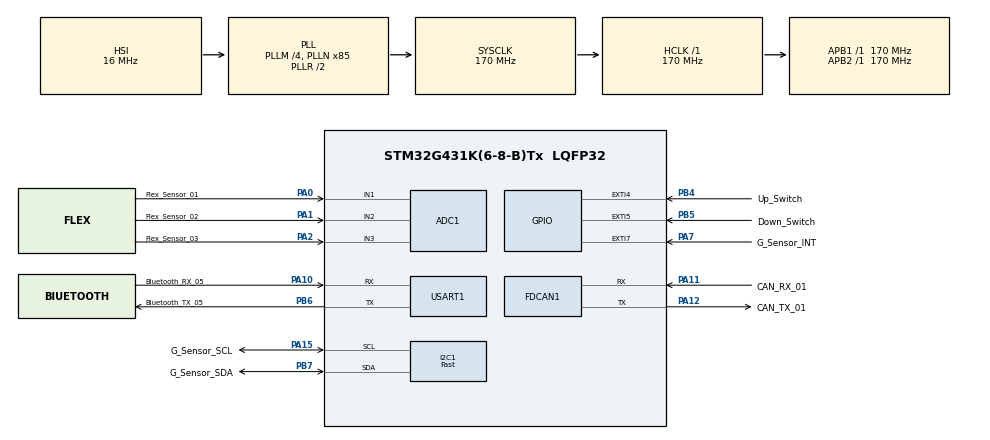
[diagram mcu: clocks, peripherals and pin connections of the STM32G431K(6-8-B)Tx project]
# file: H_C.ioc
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ADC1.Channel-1\#ChannelRegularConversion=ADC_CHANNEL_1
ADC1.Channel-2\#ChannelRegularConversion=ADC_CHANNEL_2
ADC1.Channel-3\#ChannelRegularConversion=ADC_CHANNEL_3
ADC1.ContinuousConvMode=ENABLE
ADC1.DMAContinuousRequests=ENABLE
ADC1.NbrOfConversion=3
ADC1.NbrOfConversionFlag=1
ADC1.OffsetNumber-1\#ChannelRegularConversion=ADC_OFFSET_NONE
ADC1.OffsetNumber-2\#ChannelRegularConversion=ADC_OFFSET_NONE
ADC1.OffsetNumber-3\#ChannelRegularConversion=ADC_OFFSET_NONE
ADC1.Rank-1\#ChannelRegularConversion=1
ADC1.Rank-2\#ChannelRegularConversion=2
ADC1.Rank-3\#ChannelRegularConversion=3
ADC1.SamplingTime-1\#ChannelRegularConversion=ADC_SAMPLETIME_47CYCLES_5
ADC1.SamplingTime-2\#ChannelRegularConversion=ADC_SAMPLETIME_47CYCLES_5
ADC1.SamplingTime-3\#ChannelRegularConversion=ADC_SAMPLETIME_47CYCLES_5
ADC1.master=1
Dma.ADC1.0.Direction=DMA_PERIPH_TO_MEMORY
Dma.ADC1.0.EventEnable=DISABLE
Dma.ADC1.0.Instance=DMA1_Channel1
Dma.ADC1.0.MemDataAlignment=DMA_MDATAALIGN_HALFWORD
Dma.ADC1.0.MemInc=DMA_MINC_ENABLE
Dma.ADC1.0.Mode=DMA_CIRCULAR
Dma.ADC1.0.PeriphDataAlignment=DMA_PDATAALIGN_HALFWORD
Dma.ADC1.0.PeriphInc=DMA_PINC_DISABLE
Dma.ADC1.0.Polarity=HAL_DMAMUX_REQ_GEN_RISING
Dma.ADC1.0.Priority=DMA_PRIORITY_LOW
Dma.ADC1.0.RequestNumber=1
Dma.ADC1.0.SignalID=NONE
Dma.ADC1.0.SyncEnable=DISABLE
Dma.ADC1.0.SyncPolarity=HAL_DMAMUX_SYNC_NO_EVENT
Dma.ADC1.0.SyncRequestNumber=1
Dma.ADC1.0.SyncSignalID=NONE
Dma.Request0=ADC1
FDCAN1.CalculateBaudRateNominal=499999
FDCAN1.CalculateTimeBitNominal=2000
FDCAN1.CalculateTimeQuantumNominal=117.64705882352942
FDCAN1.ClockDivider=FDCAN_CLOCK_DIV1
FDCAN1.DataSyncJumpWidth=1
FDCAN1.NominalPrescaler=20
FDCAN1.NominalSyncJumpWidth=3
FDCAN1.NominalTimeSeg1=12
FDCAN1.NominalTimeSeg2=4
FREERTOS.Queues01=packetQueue,8,8,1,Dynamic,NULL,NULL
FREERTOS.Tasks01=CommTask,32,256,StartCommTask,Default,NULL,Dynamic,NULL,NULL;SensorTask,16,256,StartSensorTask,Default,NULL,Dynamic,NULL,NULL;SwitchTask,24,256,StartSwitchTask,Default,NULL,Dynamic,NULL,NULL
FREERTOS.Timers01=TimerOnce,Callback_Once,osTimerOnce,Default,NULL,Dynamic,NULL;Timer10ms,Callback_10ms,osTimerPeriodic,Default,NULL,Dynamic,NULL;Timer100ms,Callback_100ms,osTimerPeriodic,Default,NULL,Dynamic,NULL
FREERTOS.configTOTAL_HEAP_SIZE=6144
I2C1.I2C_Fall_Time=10
I2C1.I2C_Speed_Mode=I2C_Fast
I2C1.Timing=0x60400D28
Mcu.Family=STM32G4
Mcu.Name=STM32G431K(6-8-B)Tx
Mcu.Package=LQFP32
NVIC.DMA1_Channel1_IRQn=true\:5\:0\:false\:false\:true\:true\:false\:true\:true
NVIC.EXTI4_IRQn=true\:5\:0\:false\:false\:true\:true\:true\:true\:true
NVIC.EXTI9_5_IRQn=true\:5\:0\:false\:false\:true\:true\:true\:true\:true
NVIC.FDCAN1_IT0_IRQn=true\:5\:0\:false\:false\:true\:true\:true\:true\:true
NVIC.PriorityGroup=NVIC_PRIORITYGROUP_4
NVIC.TIM6_DAC_IRQn=true\:15\:0\:false\:false\:true\:false\:false\:true\:true
NVIC.TimeBase=TIM6_DAC_IRQn
NVIC.TimeBaseIP=TIM6
NVIC.USART1_IRQn=true\:5\:0\:false\:false\:true\:true\:true\:true\:true
PA0.GPIO_Label=Flex_Sensor_01
PA0.Mode=IN1-Single-Ended
PA0.Signal=ADC1_IN1
PA1.GPIO_Label=Flex_Sensor_02
PA1.Mode=IN2-Single-Ended
PA1.Signal=ADC1_IN2
PA10.GPIO_Label=BIuetooth_RX_05
PA10.Mode=Asynchronous
PA10.Signal=USART1_RX
PA11.GPIO_Label=CAN_RX_01
PA11.Mode=FDCAN_Activate
PA11.Signal=FDCAN1_RX
PA12.GPIO_Label=CAN_TX_01
PA12.Mode=FDCAN_Activate
PA12.Signal=FDCAN1_TX
PA15.GPIO_Label=G_Sensor_SCL
PA15.Mode=I2C
PA15.Signal=I2C1_SCL
PA2.GPIO_Label=Flex_Sensor_03
PA2.Mode=IN3-Single-Ended
PA2.Signal=ADC1_IN3
PA7.GPIO_Label=G_Sensor_INT
PA7.Signal=GPXTI7
PB4.GPIO_Label=Up_Switch
PB4.GPIO_ModeDefaultEXTI=GPIO_MODE_IT_RISING_FALLING
PB4.GPIO_PuPd=GPIO_PULLUP
PB4.Signal=GPXTI4
PB5.GPIO_Label=Down_Switch
PB5.GPIO_ModeDefaultEXTI=GPIO_MODE_IT_RISING_FALLING
PB5.GPIO_PuPd=GPIO_PULLUP
PB5.Signal=GPXTI5
PB6.GPIO_Label=BIuetooth_TX_05
PB6.Mode=Asynchronous
PB6.Signal=USART1_TX
PB7.GPIO_Label=G_Sensor_SDA
PB7.Mode=I2C
PB7.Signal=I2C1_SDA
ProjectManager.HeapSize=0x200
ProjectManager.StackSize=0x400
ProjectManager.TargetToolchain=STM32CubeIDE
RCC.ADC12Freq_Value=170000000
RCC.AHBFreq_Value=170000000
RCC.APB1Freq_Value=170000000
RCC.APB1TimFreq_Value=170000000
RCC.APB2Freq_Value=170000000
RCC.APB2TimFreq_Value=170000000
RCC.CortexFreq_Value=170000000
RCC.EXTERNAL_CLOCK_VALUE=12288000
RCC.HCLKFreq_Value=170000000
RCC.HSE_VALUE=8000000
RCC.HSI48_VALUE=48000000
RCC.HSI_VALUE=16000000
RCC.LSE_VALUE=32768
RCC.PLLM=RCC_PLLM_DIV4
RCC.PLLN=85
RCC.SYSCLKFreq_VALUE=170000000
RCC.SYSCLKSource=RCC_SYSCLKSOURCE_PLLCLK
RCC.USBFreq_Value=170000000
RCC.VCOOutputFreq_Value=340000000
USART1.VirtualMode-Asynchronous=VM_ASYNC
VP_FREERTOS_VS_CMSIS_V2.Mode=CMSIS_V2
VP_SYS_VS_DBSignals.Mode=DisableDeadBatterySignals
VP_SYS_VS_tim6.Mode=TIM6
board=custom

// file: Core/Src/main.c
/* USER CODE BEGIN Header */
/**
  ******************************************************************************
  * @file           : main.c
  * @brief          : Main program body
  ******************************************************************************
  * @attention
  *
  * Copyright (c) 2026 STMicroelectronics.
  * All rights reserved.
  *
  * This software is licensed under terms that can be found in the LICENSE file
  * in the root directory of this software component.
  * If no LICENSE file comes with this software, it is provided AS-IS.
  *
  ******************************************************************************
  */
/* USER CODE END Header */
#include "main.h"
#include "cmsis_os.h"

/* USER CODE BEGIN Includes */
#include "Packet.h"
#include "sensor.h"
#include "bluetooth.h"
#include "can_comm.h"
#include <string.h>
/* USER CODE END Includes */

ADC_HandleTypeDef hadc1;
DMA_HandleTypeDef hdma_adc1;

FDCAN_HandleTypeDef hfdcan1;

I2C_HandleTypeDef hi2c1;

UART_HandleTypeDef huart1;

/* Definitions for CommTask */
osThreadId_t CommTaskHandle;
const osThreadAttr_t CommTask_attributes = {
  .name = "CommTask",
  .priority = (osPriority_t) osPriorityAboveNormal,
  .stack_size = 256 * 4
};
/* Definitions for SensorTask */
osThreadId_t SensorTaskHandle;
const osThreadAttr_t SensorTask_attributes = {
  .name = "SensorTask",
  .priority = (osPriority_t) osPriorityBelowNormal,
  .stack_size = 256 * 4
};
/* Definitions for SwitchTask */
osThreadId_t SwitchTaskHandle;
const osThreadAttr_t SwitchTask_attributes = {
  .name = "SwitchTask",
  .priority = (osPriority_t) osPriorityNormal,
  .stack_size = 256 * 4
};
/* Definitions for packetQueue */
osMessageQueueId_t packetQueueHandle;
const osMessageQueueAttr_t packetQueue_attributes = {
  .name = "packetQueue"
};
/* Definitions for TimerOnce */
osTimerId_t TimerOnceHandle;
const osTimerAttr_t TimerOnce_attributes = {
  .name = "TimerOnce"
};
/* Definitions for Timer10ms */
osTimerId_t Timer10msHandle;
const osTimerAttr_t Timer10ms_attributes = {
  .name = "Timer10ms"
};
/* Definitions for Timer100ms */
osTimerId_t Timer100msHandle;
const osTimerAttr_t Timer100ms_attributes = {
  .name = "Timer100ms"
};
/* USER CODE BEGIN PV */
static SensorData_t g_sensorData; /* Callback_10ms가 갱신, BT(CommTask)/CAN 양쪽에서 공유 */

static GSensorPacket_t g_gsensorPkt;       /* canonical: 최신 패킹된 G센서 패킷 (Live Expression 확인용) */
static FlexPacket_t    g_flexPkt;          /* canonical: 최신 패킹된 Flex 패킷 */

static GSensorPacket_t g_canTxGSensorPkt;  /* CAN 송신 직전 복사본 */
static FlexPacket_t    g_canTxFlexPkt;

static GSensorPacket_t g_btTxGSensorPkt;   /* BT 송신 직전 복사본 */
static FlexPacket_t    g_btTxFlexPkt;
/* USER CODE END PV */

void SystemClock_Config(void);
static void MX_GPIO_Init(void);
static void MX_DMA_Init(void);
static void MX_ADC1_Init(void);
static void MX_FDCAN1_Init(void);
static void MX_I2C1_Init(void);
static void MX_USART1_UART_Init(void);
void StartCommTask(void *argument);
void StartSensorTask(void *argument);
void StartSwitchTask(void *argument);
void Callback_Once(void *argument);
void Callback_10ms(void *argument);
void Callback_100ms(void *argument);

/* USER CODE BEGIN PFP */
/* [TEST MODE] 센서 없이 CAN/BT 통신 확인용 더미 패킷 생성 */
static void BuildTestPackets(GSensorPacket_t *gPkt, FlexPacket_t *fPkt);
/* USER CODE END PFP */

int main(void)
{

  /* MCU Configuration--------------------------------------------------------*/

  /* Reset of all peripherals, Initializes the Flash interface and the Systick. */
  HAL_Init();

  /* Configure the system clock */
  SystemClock_Config();

  /* Initialize all configured peripherals */
  MX_GPIO_Init();
  MX_DMA_Init();
  MX_ADC1_Init();
  MX_FDCAN1_Init();
  MX_I2C1_Init();
  MX_USART1_UART_Init();

  /* Init scheduler */
  osKernelInitialize();

  /* Create the timer(s) */
  /* creation of TimerOnce */
  TimerOnceHandle = osTimerNew(Callback_Once, osTimerOnce, NULL, &TimerOnce_attributes);

  /* creation of Timer10ms */
  Timer10msHandle = osTimerNew(Callback_10ms, osTimerPeriodic, NULL, &Timer10ms_attributes);

  /* creation of Timer100ms */
  Timer100msHandle = osTimerNew(Callback_100ms, osTimerPeriodic, NULL, &Timer100ms_attributes);

  /* USER CODE BEGIN RTOS_TIMERS */
  osTimerStart(Timer10msHandle, 10); /* CAN 주기 송신 시작 */
  osTimerStart(Timer100msHandle, 1000); /* Hand 상태(0x102) 주기 송신 — 이름은 Timer100ms지만 1000ms로 재활용 */
  /* USER CODE END RTOS_TIMERS */

  /* Create the queue(s) */
  /* creation of packetQueue */
  packetQueueHandle = osMessageQueueNew (8, 8, &packetQueue_attributes);

  /* Create the thread(s) */
  /* creation of CommTask */
  CommTaskHandle = osThreadNew(StartCommTask, NULL, &CommTask_attributes);

  /* [TEST MODE] Flex 센서 1개(PA0)만 확인하려고 SensorTask는 다시 켬 (G센서는 아직 미연결, I2C 타임아웃만 나고 안전하게 무시됨) */
  /* creation of SensorTask */
  SensorTaskHandle = osThreadNew(StartSensorTask, NULL, &SensorTask_attributes);

  /* creation of SwitchTask */
  // SwitchTaskHandle = osThreadNew(StartSwitchTask, NULL, &SwitchTask_attributes);

  /* Start scheduler */
  osKernelStart();

  /* We should never get here as control is now taken by the scheduler */

  /* Infinite loop */
  while (1)
  {

  }
}

void SystemClock_Config(void)
{
  RCC_OscInitTypeDef RCC_OscInitStruct = {0};
  RCC_ClkInitTypeDef RCC_ClkInitStruct = {0};

  /** Configure the main internal regulator output voltage
  */
  HAL_PWREx_ControlVoltageScaling(PWR_REGULATOR_VOLTAGE_SCALE1_BOOST);

  /** Initializes the RCC Oscillators according to the specified parameters
  * in the RCC_OscInitTypeDef structure.
  */
  RCC_OscInitStruct.OscillatorType = RCC_OSCILLATORTYPE_HSI;
  RCC_OscInitStruct.HSIState = RCC_HSI_ON;
  RCC_OscInitStruct.HSICalibrationValue = RCC_HSICALIBRATION_DEFAULT;
  RCC_OscInitStruct.PLL.PLLState = RCC_PLL_ON;
  RCC_OscInitStruct.PLL.PLLSource = RCC_PLLSOURCE_HSI;
  RCC_OscInitStruct.PLL.PLLM = RCC_PLLM_DIV4;
  RCC_OscInitStruct.PLL.PLLN = 85;
  RCC_OscInitStruct.PLL.PLLP = RCC_PLLP_DIV2;
  RCC_OscInitStruct.PLL.PLLQ = RCC_PLLQ_DIV2;
  RCC_OscInitStruct.PLL.PLLR = RCC_PLLR_DIV2;
  if (HAL_RCC_OscConfig(&RCC_OscInitStruct) != HAL_OK)
  {
    Error_Handler();
  }

  /** Initializes the CPU, AHB and APB buses clocks
  */
  RCC_ClkInitStruct.ClockType = RCC_CLOCKTYPE_HCLK|RCC_CLOCKTYPE_SYSCLK
                              |RCC_CLOCKTYPE_PCLK1|RCC_CLOCKTYPE_PCLK2;
  RCC_ClkInitStruct.SYSCLKSource = RCC_SYSCLKSOURCE_PLLCLK;
  RCC_ClkInitStruct.AHBCLKDivider = RCC_SYSCLK_DIV1;
  RCC_ClkInitStruct.APB1CLKDivider = RCC_HCLK_DIV1;
  RCC_ClkInitStruct.APB2CLKDivider = RCC_HCLK_DIV1;

  if (HAL_RCC_ClockConfig(&RCC_ClkInitStruct, FLASH_LATENCY_4) != HAL_OK)
  {
    Error_Handler();
  }
}

static void MX_ADC1_Init(void)
{

  ADC_MultiModeTypeDef multimode = {0};
  ADC_ChannelConfTypeDef sConfig = {0};

  /** Common config
  */
  hadc1.Instance = ADC1;
  hadc1.Init.ClockPrescaler = ADC_CLOCK_SYNC_PCLK_DIV4;
  hadc1.Init.Resolution = ADC_RESOLUTION_12B;
  hadc1.Init.DataAlign = ADC_DATAALIGN_RIGHT;
  hadc1.Init.GainCompensation = 0;
  hadc1.Init.ScanConvMode = ADC_SCAN_ENABLE;
  hadc1.Init.EOCSelection = ADC_EOC_SINGLE_CONV;
  hadc1.Init.LowPowerAutoWait = DISABLE;
  hadc1.Init.ContinuousConvMode = ENABLE;
  hadc1.Init.NbrOfConversion = 3;
  hadc1.Init.DiscontinuousConvMode = DISABLE;
  hadc1.Init.ExternalTrigConv = ADC_SOFTWARE_START;
  hadc1.Init.ExternalTrigConvEdge = ADC_EXTERNALTRIGCONVEDGE_NONE;
  hadc1.Init.DMAContinuousRequests = ENABLE;
  hadc1.Init.Overrun = ADC_OVR_DATA_PRESERVED;
  hadc1.Init.OversamplingMode = DISABLE;
  if (HAL_ADC_Init(&hadc1) != HAL_OK)
  {
    Error_Handler();
  }

  /** Configure the ADC multi-mode
  */
  multimode.Mode = ADC_MODE_INDEPENDENT;
  if (HAL_ADCEx_MultiModeConfigChannel(&hadc1, &multimode) != HAL_OK)
  {
    Error_Handler();
  }

  /** Configure Regular Channel
  */
  sConfig.Channel = ADC_CHANNEL_1;
  sConfig.Rank = ADC_REGULAR_RANK_1;
  sConfig.SamplingTime = ADC_SAMPLETIME_47CYCLES_5;
  sConfig.SingleDiff = ADC_SINGLE_ENDED;
  sConfig.OffsetNumber = ADC_OFFSET_NONE;
  sConfig.Offset = 0;
  if (HAL_ADC_ConfigChannel(&hadc1, &sConfig) != HAL_OK)
  {
    Error_Handler();
  }

  /** Configure Regular Channel
  */
  sConfig.Channel = ADC_CHANNEL_2;
  sConfig.Rank = ADC_REGULAR_RANK_2;
  if (HAL_ADC_ConfigChannel(&hadc1, &sConfig) != HAL_OK)
  {
    Error_Handler();
  }

  /** Configure Regular Channel
  */
  sConfig.Channel = ADC_CHANNEL_3;
  sConfig.Rank = ADC_REGULAR_RANK_3;
  if (HAL_ADC_ConfigChannel(&hadc1, &sConfig) != HAL_OK)
  {
    Error_Handler();
  }

}

static void MX_FDCAN1_Init(void)
{

  hfdcan1.Instance = FDCAN1;
  hfdcan1.Init.ClockDivider = FDCAN_CLOCK_DIV1;
  hfdcan1.Init.FrameFormat = FDCAN_FRAME_CLASSIC;
  hfdcan1.Init.Mode = FDCAN_MODE_NORMAL;
  hfdcan1.Init.AutoRetransmission = DISABLE;
  hfdcan1.Init.TransmitPause = DISABLE;
  hfdcan1.Init.ProtocolException = DISABLE;
  hfdcan1.Init.NominalPrescaler = 20;
  hfdcan1.Init.NominalSyncJumpWidth = 3;
  hfdcan1.Init.NominalTimeSeg1 = 12;
  hfdcan1.Init.NominalTimeSeg2 = 4;
  hfdcan1.Init.DataPrescaler = 1;
  hfdcan1.Init.DataSyncJumpWidth = 1;
  hfdcan1.Init.DataTimeSeg1 = 1;
  hfdcan1.Init.DataTimeSeg2 = 1;
  hfdcan1.Init.StdFiltersNbr = 0;
  hfdcan1.Init.ExtFiltersNbr = 0;
  hfdcan1.Init.TxFifoQueueMode = FDCAN_TX_FIFO_OPERATION;
  if (HAL_FDCAN_Init(&hfdcan1) != HAL_OK)
  {
    Error_Handler();
  }

}

static void MX_I2C1_Init(void)
{

  hi2c1.Instance = I2C1;
  hi2c1.Init.Timing = 0x60400D28;
  hi2c1.Init.OwnAddress1 = 0;
  hi2c1.Init.AddressingMode = I2C_ADDRESSINGMODE_7BIT;
  hi2c1.Init.DualAddressMode = I2C_DUALADDRESS_DISABLE;
  hi2c1.Init.OwnAddress2 = 0;
  hi2c1.Init.OwnAddress2Masks = I2C_OA2_NOMASK;
  hi2c1.Init.GeneralCallMode = I2C_GENERALCALL_DISABLE;
  hi2c1.Init.NoStretchMode = I2C_NOSTRETCH_DISABLE;
  if (HAL_I2C_Init(&hi2c1) != HAL_OK)
  {
    Error_Handler();
  }

  /** Configure Analogue filter
  */
  if (HAL_I2CEx_ConfigAnalogFilter(&hi2c1, I2C_ANALOGFILTER_ENABLE) != HAL_OK)
  {
    Error_Handler();
  }

  /** Configure Digital filter
  */
  if (HAL_I2CEx_ConfigDigitalFilter(&hi2c1, 0) != HAL_OK)
  {
    Error_Handler();
  }

}

static void MX_USART1_UART_Init(void)
{

  huart1.Instance = USART1;
  huart1.Init.BaudRate = 115200;
  huart1.Init.WordLength = UART_WORDLENGTH_8B;
  huart1.Init.StopBits = UART_STOPBITS_1;
  huart1.Init.Parity = UART_PARITY_NONE;
  huart1.Init.Mode = UART_MODE_TX_RX;
  huart1.Init.HwFlowCtl = UART_HWCONTROL_NONE;
  huart1.Init.OverSampling = UART_OVERSAMPLING_16;
  huart1.Init.OneBitSampling = UART_ONE_BIT_SAMPLE_DISABLE;
  huart1.Init.ClockPrescaler = UART_PRESCALER_DIV1;
  huart1.AdvancedInit.AdvFeatureInit = UART_ADVFEATURE_NO_INIT;
  if (HAL_UART_Init(&huart1) != HAL_OK)
  {
    Error_Handler();
  }
  if (HAL_UARTEx_SetTxFifoThreshold(&huart1, UART_TXFIFO_THRESHOLD_1_8) != HAL_OK)
  {
    Error_Handler();
  }
  if (HAL_UARTEx_SetRxFifoThreshold(&huart1, UART_RXFIFO_THRESHOLD_1_8) != HAL_OK)
  {
    Error_Handler();
  }
  if (HAL_UARTEx_DisableFifoMode(&huart1) != HAL_OK)
  {
    Error_Handler();
  }

}

static void MX_DMA_Init(void)
{

  /* DMA controller clock enable */
  __HAL_RCC_DMAMUX1_CLK_ENABLE();
  __HAL_RCC_DMA1_CLK_ENABLE();

  /* DMA interrupt init */
  /* DMA1_Channel1_IRQn interrupt configuration */
  HAL_NVIC_SetPriority(DMA1_Channel1_IRQn, 5, 0);
  HAL_NVIC_EnableIRQ(DMA1_Channel1_IRQn);

}

static void MX_GPIO_Init(void)
{
  GPIO_InitTypeDef GPIO_InitStruct = {0};

  /* GPIO Ports Clock Enable */
  __HAL_RCC_GPIOA_CLK_ENABLE();
  __HAL_RCC_GPIOB_CLK_ENABLE();

  /* [TEST MODE] 센서 제거 테스트 중이라 G센서/높낮이스위치 EXTI 비활성화 (PA7 플로팅으로 인한 인터럽트 폭주 방지) */
  /*Configure GPIO pin : G_Sensor_INT_Pin */
  // GPIO_InitStruct.Pin = G_Sensor_INT_Pin;
  // GPIO_InitStruct.Mode = GPIO_MODE_IT_RISING;
  // GPIO_InitStruct.Pull = GPIO_NOPULL;
  // HAL_GPIO_Init(G_Sensor_INT_GPIO_Port, &GPIO_InitStruct);

  /*Configure GPIO pins : Up_Switch_Pin Down_Switch_Pin */
  // GPIO_InitStruct.Pin = Up_Switch_Pin|Down_Switch_Pin;
  // GPIO_InitStruct.Mode = GPIO_MODE_IT_RISING_FALLING;
  // GPIO_InitStruct.Pull = GPIO_PULLUP;
  // HAL_GPIO_Init(GPIOB, &GPIO_InitStruct);

  /* EXTI interrupt init*/
  // HAL_NVIC_SetPriority(EXTI4_IRQn, 5, 0);
  // HAL_NVIC_EnableIRQ(EXTI4_IRQn);

  // HAL_NVIC_SetPriority(EXTI9_5_IRQn, 5, 0);
  // HAL_NVIC_EnableIRQ(EXTI9_5_IRQn);

}

void StartCommTask(void *argument)
{
  /* USER CODE BEGIN 5 */
  CAN_Comm_Init(); /* CAN 버스 활성화 (Bus-Off 알림 등록 + 송신 시작) */

<<<<<<< HEAD
  /* [TEST MODE] Flex1(PA0)만 실측, 나머지는 미연결 상태 그대로. 500ms마다 실제 센서값을 BT로 송신 (CAN은 Callback_10ms가 전담) */
  GSensorPacket_t gPkt;
  FlexPacket_t    fPkt;

  for(;;)
  {
    Sensor_PackGSensor(&g_sensorData, &gPkt); /* Callback_10ms가 갱신해둔 최신값 재사용 */
    Sensor_PackFlex(&g_sensorData, &fPkt);
    BT_Send(&gPkt, &fPkt);
=======
  uint8_t sig[8] = {0};

  for(;;)
  {
    /* SensorTask 또는 SwitchTask가 큐에 신호를 넣으면 여기서 깨어남 */
    /* 100ms 동안 신호 없으면 타임아웃 후 CAN_Recovery()만 실행 */
    if (osMessageQueueGet(packetQueueHandle, sig, NULL, 100) == osOK)
    {
      /* Callback_10ms가 갱신해둔 canonical 패킷을 BT 전용 변수로 복사해서 송신 (CAN은 Callback_10ms가 전담) */
      memcpy(&g_btTxGSensorPkt, &g_gsensorPkt, sizeof(g_gsensorPkt));
      memcpy(&g_btTxFlexPkt,    &g_flexPkt,    sizeof(g_flexPkt));
      BT_Send(&g_btTxGSensorPkt, &g_btTxFlexPkt);
>>>>>>> f898ed6684598243425a488b2c8abcd53dad3f7c

    osDelay(500);
    CAN_Recovery(); /* CAN 끊김 상태면 2초마다 재연결 시도 */
  }
  /* USER CODE END 5 */
}

void StartSensorTask(void *argument)
{
  /* USER CODE BEGIN StartSensorTask */
  /* G센서 설정 + Flex DMA 시작 + 0.5초 안정화 + 착용 자세 오프셋 캘리브레이션 */
  Sensor_Init();

  uint8_t sig[8] = {0};

  for(;;)
  {
    /* G센서 인터럽트 또는 Flex DMA 콜백에서 플래그가 세팅되면 감지 */
    if (gsensor_changed || flex_changed)
    {
      /* CommTask에 "센서값 변경됨, 읽어서 보내줘" 신호 전달 */
      osMessageQueuePut(packetQueueHandle, sig, 0, 0);
    }
    osDelay(10); /* 10ms 주기로 플래그 확인 */
  }
  /* USER CODE END StartSensorTask */
}

void StartSwitchTask(void *argument)
{
  /* USER CODE BEGIN StartSwitchTask */
  uint8_t sig[8] = {0};

  for(;;)
  {
    /* 높낮이 스위치 EXTI 콜백에서 플래그가 세팅되면 감지 */
    if (switch_changed)
    {
      /* CommTask에 "스위치 변경됨, 읽어서 보내줘" 신호 전달 */
      osMessageQueuePut(packetQueueHandle, sig, 0, 0);
    }
    osDelay(10); /* 10ms 주기로 플래그 확인 */
  }
  /* USER CODE END StartSwitchTask */
}

/* Callback_Once function */
void Callback_Once(void *argument)
{
}

/* Callback_10ms function */
void Callback_10ms(void *argument)
{
  /* USER CODE BEGIN Callback_10ms */
<<<<<<< HEAD
  /* [TEST MODE] Flex1(PA0)만 실측, G센서/높낮이스위치/Flex2·3은 미연결 상태 (I2C는 타임아웃 후 0 처리, ADC는 노이즈값) */
  GSensorPacket_t gPkt;
  FlexPacket_t    fPkt;

  Sensor_ReadAll(&g_sensorData); /* I2C(G센서, 미연결) 블로킹 읽기 + ADC 버퍼 복사 + GPIO 읽기 */
=======
  Sensor_ReadAll(&g_sensorData); /* I2C(G센서) 블로킹 읽기 + ADC 버퍼 복사 + GPIO 읽기 */
>>>>>>> f898ed6684598243425a488b2c8abcd53dad3f7c

  Sensor_PackGSensor(&g_sensorData, &g_gsensorPkt);
  Sensor_PackFlex(&g_sensorData, &g_flexPkt);

  memcpy(&g_canTxGSensorPkt, &g_gsensorPkt, sizeof(g_gsensorPkt));
  memcpy(&g_canTxFlexPkt,    &g_flexPkt,    sizeof(g_flexPkt));

  CAN_Send(CAN_MSG_SENSOR, (const uint8_t *)&g_canTxGSensorPkt);
  CAN_Send(CAN_MSG_FLEX,   (const uint8_t *)&g_canTxFlexPkt);
  /* USER CODE END Callback_10ms */
}

/* [TEST MODE] 센서 없이 CAN/BT 통신만 확인하기 위한 더미 패킷 생성 (HAL_GetTick 기반으로 값이 계속 변함) */
static void BuildTestPackets(GSensorPacket_t *gPkt, FlexPacket_t *fPkt)
{
  uint32_t t = HAL_GetTick();

  gPkt->roll       = (int16_t)((t / 5) % 3601) - 1800; /* -180.0~+180.0도 왕복 스윕 */
  gPkt->pitch      = 0;
  gPkt->height_sw  = HEIGHT_STOP;
  gPkt->reserved[0] = 0;
  gPkt->reserved[1] = 0;
  gPkt->checksum   = CALC_CHECKSUM(gPkt);

  fPkt->flex1      = (uint16_t)(t % 4096); /* 0~4095 톱니파 */
  fPkt->flex2      = 0;
  fPkt->flex3      = 0;
  fPkt->reserved[0] = 0;
  fPkt->checksum   = CALC_CHECKSUM(fPkt);
}

/* Callback_100ms function */
void Callback_100ms(void *argument)
{
  /* USER CODE BEGIN Callback_100ms */
  Sensor_SendStatus(); /* Hand 자체 상태(0x102) 송신 — 타이머는 1000ms로 시작됨 */
  /* USER CODE END Callback_100ms */
}

void HAL_TIM_PeriodElapsedCallback(TIM_HandleTypeDef *htim)
{
  if (htim->Instance == TIM6)
  {
    HAL_IncTick();
  }
}

void Error_Handler(void)
{
  __disable_irq();
  while (1)
  {
  }
}
